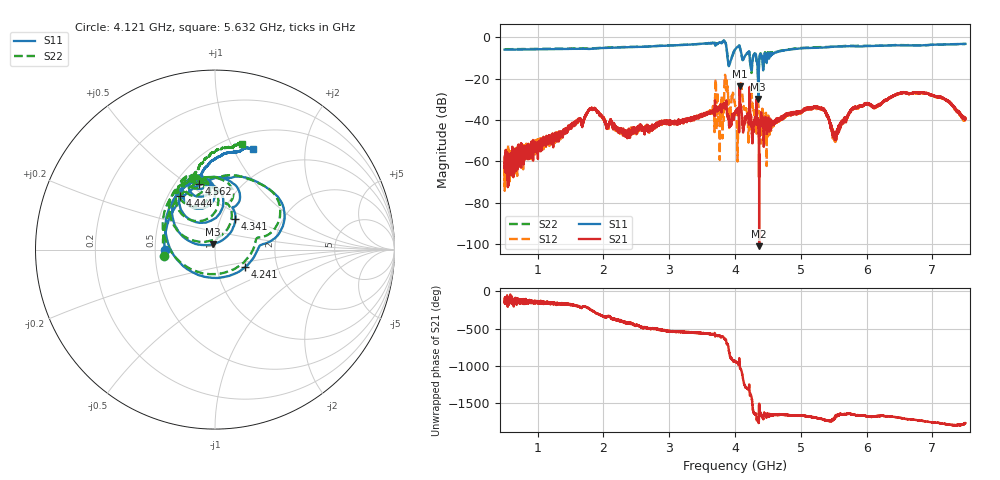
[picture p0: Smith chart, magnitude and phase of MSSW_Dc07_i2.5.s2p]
!Keysight Technologies,M9374A,MY55442783,A.12.55.05
!Date: Thursday, May 20, 2021 15:40:33
!Correction: S11(Full 2 Port(1,2))
!S21(Full 2 Port(1,2))
!S12(Full 2 Port(1,2))
!S22(Full 2 Port(1,2))
!S2P File: Measurements: S11, S21, S12, S22:
# Hz S  RI  R 50
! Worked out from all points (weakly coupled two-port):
!   7001 points, 500 MHz to 7.5 GHz, reference 50 ohm
!   highest |S21| = -23.63 dB at 4.071 GHz (marker M1); lowest = -101.1 dB at 4.367 GHz (marker M2)
!   lowest |S11| = -29.9 dB at 4.354 GHz (marker M3), VSWR 1.07, Z = 49 + j2.99 ohm
!   |S11| at or under -10 dB: 3.887 GHz to 3.949 GHz (61.84 MHz wide, 1.58 % of centre); 4.224 GHz to 4.272 GHz (48.05 MHz wide, 1.13 % of centre); 4.323 GHz to 4.372 GHz (48.17 MHz wide, 1.11 % of centre) (the widest 3 of 7)
!   |S22| runs from -25.2 to -1.5 dB; largest |S21 - S12| = 0.12
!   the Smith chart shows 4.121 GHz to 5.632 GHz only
!   S11 on the Smith chart (normalised r, x): 4.121 GHz: 0.56, -0.00; 4.241 GHz: 1.37, -0.28; 4.341 GHz: 1.18, +0.42; 4.444 GHz: 0.57, +0.40; 4.562 GHz: 0.65, +0.55; 5.632 GHz: 0.68, +1.20
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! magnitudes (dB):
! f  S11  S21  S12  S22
! 500 MHz  -6.0  -63.1  -62.0  -5.8
! 1.667 GHz  -5.5  -40.9  -40.9  -5.4
! 2.834 GHz  -4.2  -41.4  -42.4  -4.1
! 3.779 GHz  -2.5  -32.8  -36.5  -2.5
! 3.868 GHz  -4.5  -30.6  -22.6  -4.6
! 4 GHz  -6.0  -36.7  -32.7  -6.1
! 4.037 GHz  -4.6  -34.5  -56.6  -4.7
! 4.071 GHz  -4.3  -23.6  -35.0  -4.4
! 4.121 GHz  -11.0  -43.7  -30.8  -10.9
! 4.191 GHz  -7.5  -38.4  -38.7  -7.5
! 4.241 GHz  -14.2  -37.5  -26.9  -14.8
! 4.341 GHz  -13.8  -39.0  -33.5  -12.6
! 4.354 GHz  -29.9  -43.6  -32.6  -23.9
! 4.367 GHz  -11.9  -101.1  -36.1  -12.0
! 4.444 GHz  -8.9  -43.2  -39.4  -9.0
! 4.562 GHz  -8.5  -42.6  -43.4  -8.2
! 5.167 GHz  -5.1  -33.9  -34.2  -4.9
! 5.509 GHz  -4.5  -48.8  -50.2  -4.5
! 5.632 GHz  -4.4  -40.3  -41.4  -4.3
! 6.334 GHz  -3.9  -29.5  -29.8  -3.9
! 6.917 GHz  -3.8  -27.1  -27.3  -3.8
! 7.5 GHz  -3.2  -39.5  -39.2  -3.2
